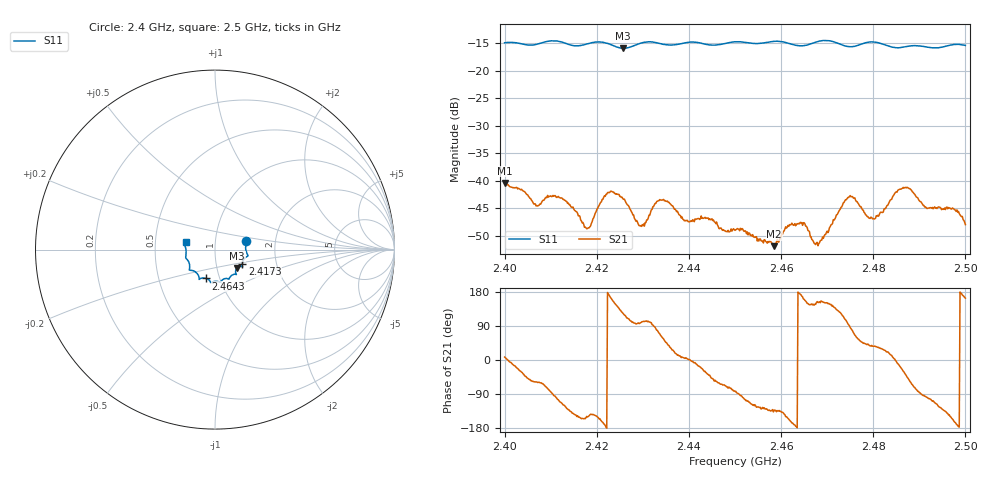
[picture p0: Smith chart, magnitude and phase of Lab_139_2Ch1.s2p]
# Hz S RI R 50
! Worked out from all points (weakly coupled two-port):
!   601 points, 2.4 GHz to 2.5 GHz, reference 50 ohm
!   highest |S21| = -40.43 dB at 2.4 GHz (marker M1); lowest = -51.9 dB at 2.4585 GHz (marker M2)
!   lowest |S11| = -15.9 dB at 2.4257 GHz (marker M3), VSWR 1.38, Z = 62.5 - j13.1 ohm
!   |S11| at or under -10 dB: start of sweep to end of sweep
!   S12 and S22 are empty: the file has one direction only
!   S11 on the Smith chart (normalised r, x): 2.4 GHz: 1.41, +0.14; 2.4173 GHz: 1.34, -0.23; 2.4643 GHz: 0.86, -0.28; 2.5 GHz: 0.72, +0.06
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2.4e9  0.1728 0.0488  0.00943 0.00129  0 0  0 0
2.406833e9  0.1731 -0.00842  0.00315 -0.00498  0 0  0 0
2.412167e9  0.1791 -0.0383  -0.00253 -0.00648  0 0  0 0
2.416667e9  0.1528 -0.0744  -0.00391 -0.00182  0 0  0 0
2.417333e9  0.1518 -0.0818  -0.00339 -0.00164  0 0  0 0
2.4225e9  0.1488 -0.0944  -0.00781 0.000732  0 0  0 0
2.425667e9  0.1228 -0.1022  -0.00379 0.00572  0 0  0 0
2.4295e9  0.1166 -0.1342  -0.000577 0.00386  0 0  0 0
2.433333e9  0.1131 -0.1374  0.00179 0.00634  0 0  0 0
2.4395e9  0.0795 -0.1617  0.00434 0.000347  0 0  0 0
2.45e9  0.0292 -0.1809  0.000428 -0.00351  0 0  0 0
2.4585e9  -0.0209 -0.1836  -0.0017 -0.00189  0 0  0 0
2.464333e9  -0.0499 -0.1606  -0.00411 0.000589  0 0  0 0
2.466667e9  -0.076 -0.1593  -0.00248 0.00154  0 0  0 0
2.4685e9  -0.0869 -0.1649  -0.00249 0.00137  0 0  0 0
2.474833e9  -0.1046 -0.1281  -4.71e-05 0.00719  0 0  0 0
2.479667e9  -0.143 -0.114  0.00363 0.00287  0 0  0 0
2.483333e9  -0.1409 -0.09  0.00585 0.00207  0 0  0 0
2.4875e9  -0.158 -0.0526  0.00587 -0.00635  0 0  0 0
2.491333e9  -0.1618 -0.0316  -0.000606 -0.00575  0 0  0 0
2.497667e9  -0.1705 0.0305  -0.00523 -0.00149  0 0  0 0
2.5e9  -0.1642 0.0428  -0.00383 0.00115  0 0  0 0
